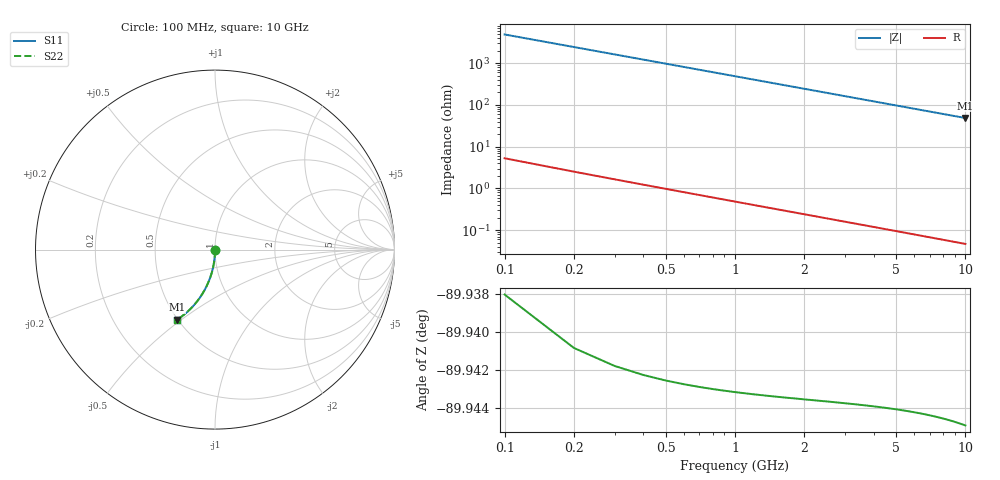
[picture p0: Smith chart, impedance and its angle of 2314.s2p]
# Hz S RI R 50.00
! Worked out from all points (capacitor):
!   100 points, 100 MHz to 10 GHz, reference 50 ohm
!   read as one part in shunt: C = 326 fF near 100 MHz
!   lowest |Z| = 48.7 ohm at 10 GHz (marker M1)
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1e8  1.86e-05 -0.00495  0.9999 -0.00529  0.9999 -0.00529  1.86e-05 -0.00495
2e8  -6.46e-05 -0.0099  0.9998 -0.0106  0.9998 -0.0106  -6.46e-05 -0.0099
3e8  -0.0002 -0.0148  0.9997 -0.0159  0.9997 -0.0159  -0.0002 -0.0148
4e8  -0.000388 -0.0198  0.9995 -0.0211  0.9995 -0.0211  -0.000388 -0.0198
5e8  -0.000628 -0.0247  0.9993 -0.0264  0.9993 -0.0264  -0.000628 -0.0247
6e8  -0.00092 -0.0297  0.999 -0.0317  0.999 -0.0317  -0.00092 -0.0297
7e8  -0.00126 -0.0346  0.9986 -0.037  0.9986 -0.037  -0.00126 -0.0346
8e8  -0.00166 -0.0395  0.9982 -0.0422  0.9982 -0.0422  -0.00166 -0.0395
9e8  -0.00211 -0.0445  0.9978 -0.0475  0.9978 -0.0475  -0.00211 -0.0445
1.1e9  -0.00316 -0.0543  0.9967 -0.058  0.9967 -0.058  -0.00316 -0.0543
1.4e9  -0.00513 -0.069  0.9948 -0.0737  0.9948 -0.0737  -0.00513 -0.069
1.8e9  -0.00846 -0.0884  0.9914 -0.0945  0.9914 -0.0945  -0.00846 -0.0884
2.1e9  -0.0115 -0.1028  0.9884 -0.1099  0.9884 -0.1099  -0.0115 -0.1028
2.5e9  -0.0162 -0.1218  0.9836 -0.1303  0.9836 -0.1303  -0.0162 -0.1218
2.9e9  -0.0217 -0.1406  0.9781 -0.1504  0.9781 -0.1504  -0.0217 -0.1406
3.4e9  -0.0296 -0.1635  0.9702 -0.175  0.9702 -0.175  -0.0296 -0.1635
4.2e9  -0.0446 -0.199  0.9552 -0.2132  0.9552 -0.2132  -0.0446 -0.199
5.1e9  -0.0645 -0.2366  0.9353 -0.254  0.9353 -0.254  -0.0645 -0.2366
5.9e9  -0.0846 -0.2679  0.9151 -0.288  0.9151 -0.288  -0.0846 -0.2679
6.7e9  -0.1066 -0.2969  0.893 -0.3198  0.893 -0.3198  -0.1066 -0.2969
8.4e9  -0.1585 -0.3506  0.841 -0.3794  0.841 -0.3794  -0.1585 -0.3506
1e10  -0.2114 -0.3908  0.7879 -0.4252  0.7879 -0.4252  -0.2114 -0.3908
